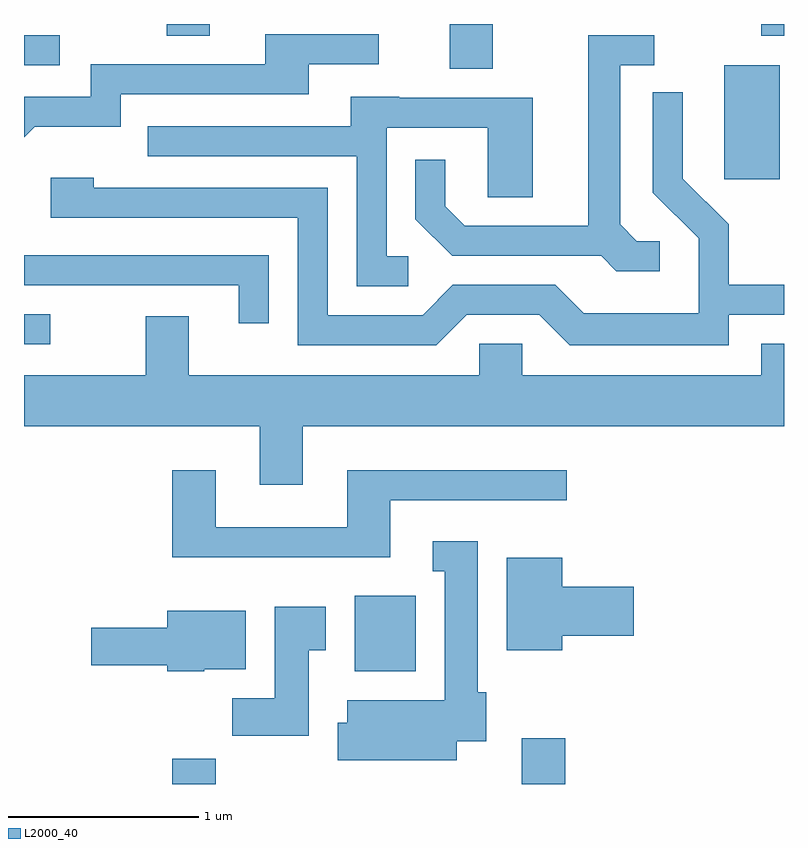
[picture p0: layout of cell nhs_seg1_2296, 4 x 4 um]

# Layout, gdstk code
import gdstk
lib = gdstk.Library(unit=1e-6, precision=1e-09)
def R(c, l, rs):  # rectangles x0, y0, x1, y1
    for r in rs: c.add(gdstk.rectangle(r[:2], r[2:], *l))
def P(c, l, *ps):  # polygons
    for p in ps: c.add(gdstk.Polygon(p, *l))
L2000_40 = (2000, 40)

nhs_seg1_2296 = lib.new_cell('nhs_seg1_2296')
R(nhs_seg1_2296, L2000_40, [(256.391,877.712,256.619,877.844), (258.231,877.712,258.459,877.954), (257.351,878.306,257.674,878.704), (255.611,880.026,255.748,880.184), (259.296,880.896,259.589,881.494), (257.851,881.476,258.079,881.712), (255.611,881.496,255.798,881.654), (256.361,881.651,256.589,881.712), (259.491,881.651,259.611,881.712)])
P(nhs_seg1_2296, L2000_40, [(255.667,881.171),(256.119,881.171),(256.119,881.341),(257.109,881.341),(257.109,881.501),(257.478,881.501),(257.478,881.659),(256.881,881.659),(256.881,881.499),(255.961,881.499),(255.961,881.329),(255.611,881.329),(255.611,881.116)],
  [(258.957,880.569),(258.837,880.569),(258.749,880.657),(258.749,881.496),(258.928,881.496),(258.928,881.654),(258.581,881.654),(258.581,880.649),(257.932,880.649),(257.829,880.752),(257.829,880.998),(257.671,880.998),(257.671,880.684),(257.864,880.491),(258.649,880.491),(258.729,880.411),(258.957,880.411)],
  [(257.942,880.181),(258.324,880.181),(258.484,880.021),(259.319,880.021),(259.319,880.181),(259.611,880.181),(259.611,880.339),(259.319,880.339),(259.319,880.657),(259.079,880.897),(259.079,881.353),(258.921,881.353),(258.921,880.824),(259.161,880.584),(259.161,880.189),(258.557,880.189),(258.407,880.339),(257.868,880.339),(257.709,880.179),(257.209,880.179),(257.209,880.849),(255.979,880.849),(255.979,880.904),(255.751,880.904),(255.751,880.691),(257.051,880.691),(257.051,880.021),(257.782,880.021)],
  [(257.633,880.489),(257.519,880.489),(257.519,881.166),(258.051,881.166),(258.051,880.801),(258.289,880.801),(258.289,881.324),(257.585,881.324),(257.585,881.329),(257.331,881.329),(257.331,881.174),(256.263,881.174),(256.263,881.016),(257.361,881.016),(257.361,880.331),(257.633,880.331)],
  [(256.899,880.494),(255.611,880.494),(255.611,880.336),(256.741,880.336),(256.741,880.138),(256.899,880.138)],
  [(257.079,879.596),(259.611,879.596),(259.611,880.029),(259.491,880.029),(259.491,879.864),(258.234,879.864),(258.234,880.029),(258.006,880.029),(258.006,879.864),(256.479,879.864),(256.479,880.174),(256.251,880.174),(256.251,879.864),(255.611,879.864),(255.611,879.596),(256.851,879.596),(256.851,879.286),(257.079,879.286)],
  [(257.539,879.206),(258.468,879.206),(258.468,879.364),(257.311,879.364),(257.311,879.064),(256.619,879.064),(256.619,879.364),(256.391,879.364),(256.391,878.906),(257.539,878.906)],
  [(257.889,877.936),(258.044,877.936),(258.044,878.194),(257.999,878.194),(257.999,878.989),(257.763,878.989),(257.763,878.831),(257.826,878.831),(257.826,878.154),(257.311,878.154),(257.311,878.034),(257.261,878.034),(257.261,877.836),(257.889,877.836)],
  [(258.444,878.491),(258.819,878.491),(258.819,878.749),(258.444,878.749),(258.444,878.904),(258.151,878.904),(258.151,878.416),(258.444,878.416)],
  [(257.109,878.416),(257.199,878.416),(257.199,878.644),(256.931,878.644),(256.931,878.164),(256.706,878.164),(256.706,877.966),(257.109,877.966)],
  [(256.56,878.316),(256.779,878.316),(256.779,878.624),(256.366,878.624),(256.366,878.534),(255.966,878.534),(255.966,878.336),(256.366,878.336),(256.366,878.306),(256.56,878.306)])

lib.write_gds('nhs_seg1_2296.gds')
